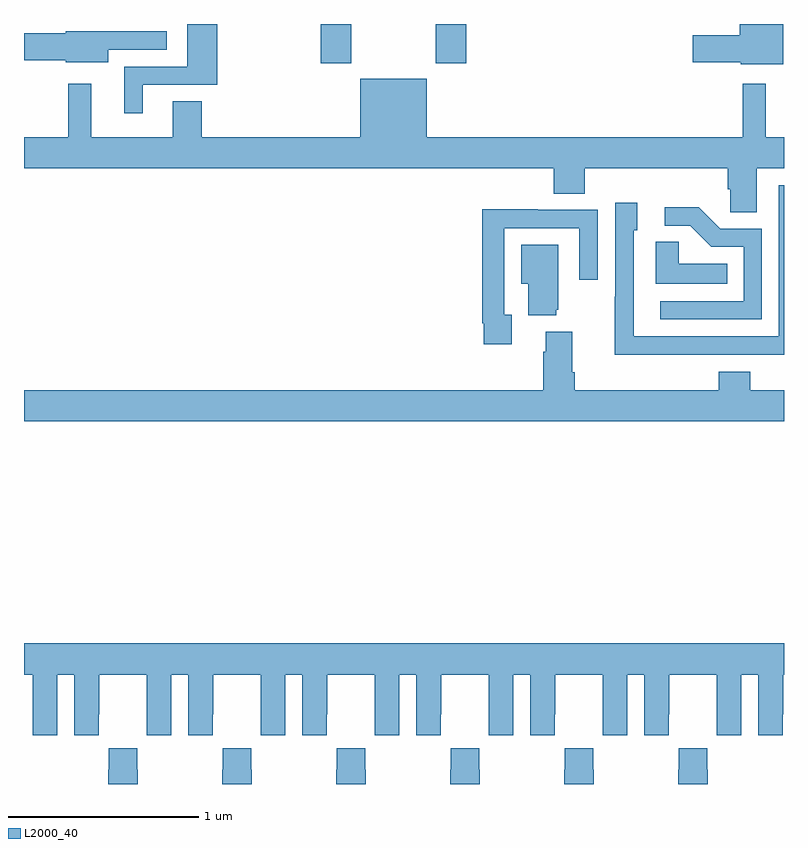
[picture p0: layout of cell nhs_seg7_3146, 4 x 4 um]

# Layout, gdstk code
import gdstk
lib = gdstk.Library(unit=1e-6, precision=1e-09)
def R(c, l, rs):  # rectangles x0, y0, x1, y1
    for r in rs: c.add(gdstk.rectangle(r[:2], r[2:], *l))
def P(c, l, *ps):  # polygons
    for p in ps: c.add(gdstk.Polygon(p, *l))
L2000_40 = (2000, 40)

nhs_seg7_3146 = lib.new_cell('nhs_seg7_3146')
R(nhs_seg7_3146, L2000_40, [(312.563,1043.793,312.723,1044), (313.168,1043.793,313.328,1044)])
P(nhs_seg7_3146, L2000_40, [(311.626,1043.679),(312.017,1043.679),(312.017,1044),(311.858,1044),(311.858,1043.775),(311.528,1043.775),(311.528,1043.529),(311.626,1043.529)],
  [(314.995,1044),(314.768,1044),(314.768,1043.942),(314.52,1043.942),(314.52,1043.8),(314.772,1043.8),(314.772,1043.789),(314.995,1043.789)],
  [(311.443,1043.865),(311.752,1043.865),(311.752,1043.961),(311.439,1043.961),(311.439,1043.962),(311.22,1043.962),(311.22,1043.951),(311,1043.951),(311,1043.809),(311.22,1043.809),(311.22,1043.798),(311.443,1043.798)],
  [(314.857,1043.24),(315,1043.24),(315,1043.404),(314.905,1043.404),(314.905,1043.686),(314.784,1043.686),(314.784,1043.404),(313.12,1043.404),(313.12,1043.713),(312.77,1043.713),(312.77,1043.404),(311.936,1043.404),(311.936,1043.594),(311.783,1043.594),(311.783,1043.404),(311.353,1043.404),(311.353,1043.686),(311.232,1043.686),(311.232,1043.404),(311,1043.404),(311,1043.24),(313.787,1043.24),(313.787,1043.107),(313.952,1043.107),(313.952,1043.24),(314.705,1043.24),(314.705,1043.131),(314.718,1043.131),(314.718,1043.008),(314.857,1043.008)],
  [(314.573,1042.26),(315,1042.26),(315,1043.151),(314.973,1043.151),(314.973,1042.356),(314.208,1042.356),(314.208,1042.914),(314.227,1042.914),(314.227,1043.059),(314.112,1043.059),(314.112,1042.565),(314.11,1042.565),(314.11,1042.259),(314.573,1042.259)],
  [(314.883,1042.923),(314.664,1042.923),(314.551,1043.036),(314.373,1043.036),(314.373,1042.938),(314.507,1042.938),(314.618,1042.827),(314.787,1042.827),(314.787,1042.542),(314.349,1042.542),(314.349,1042.446),(314.883,1042.446)],
  [(313.567,1042.47),(313.527,1042.47),(313.527,1042.926),(313.923,1042.926),(313.923,1042.653),(314.019,1042.653),(314.019,1043.022),(313.703,1043.022),(313.703,1043.024),(313.411,1043.024),(313.411,1042.426),(313.419,1042.426),(313.419,1042.314),(313.567,1042.314)],
  [(314.702,1042.738),(314.445,1042.738),(314.445,1042.853),(314.324,1042.853),(314.324,1042.634),(314.702,1042.634)],
  [(313.802,1042.497),(313.813,1042.497),(313.813,1042.837),(313.616,1042.837),(313.616,1042.634),(313.655,1042.634),(313.655,1042.466),(313.802,1042.466)],
  [(315,1042.072),(314.822,1042.072),(314.822,1042.171),(314.657,1042.171),(314.657,1042.072),(313.898,1042.072),(313.898,1042.168),(313.885,1042.168),(313.885,1042.381),(313.745,1042.381),(313.745,1042.274),(313.733,1042.274),(313.733,1042.072),(311,1042.072),(311,1041.908),(315,1041.908)],
  [(311,1040.576),(311.045,1040.576),(311.045,1040.368),(311.046,1040.368),(311.046,1040.256),(311.176,1040.256),(311.176,1040.576),(311.264,1040.576),(311.264,1040.256),(311.394,1040.256),(311.394,1040.368),(311.395,1040.368),(311.395,1040.576),(311.645,1040.576),(311.645,1040.368),(311.646,1040.368),(311.646,1040.256),(311.776,1040.256),(311.776,1040.576),(311.864,1040.576),(311.864,1040.256),(311.994,1040.256),(311.994,1040.368),(311.995,1040.368),(311.995,1040.576),(312.245,1040.576),(312.245,1040.368),(312.246,1040.368),(312.246,1040.256),(312.376,1040.256),(312.376,1040.576),(312.464,1040.576),(312.464,1040.256),(312.594,1040.256),(312.594,1040.368),(312.595,1040.368),(312.595,1040.576),(312.845,1040.576),(312.845,1040.368),(312.846,1040.368),(312.846,1040.256),(312.976,1040.256),(312.976,1040.576),(313.064,1040.576),(313.064,1040.256),(313.194,1040.256),(313.194,1040.368),(313.195,1040.368),(313.195,1040.576),(313.445,1040.576),(313.445,1040.368),(313.446,1040.368),(313.446,1040.256),(313.576,1040.256),(313.576,1040.576),(313.664,1040.576),(313.664,1040.256),(313.794,1040.256),(313.794,1040.368),(313.795,1040.368),(313.795,1040.576),(314.045,1040.576),(314.045,1040.368),(314.046,1040.368),(314.046,1040.256),(314.176,1040.256),(314.176,1040.576),(314.264,1040.576),(314.264,1040.256),(314.394,1040.256),(314.394,1040.368),(314.395,1040.368),(314.395,1040.576),(314.645,1040.576),(314.645,1040.368),(314.646,1040.368),(314.646,1040.256),(314.776,1040.256),(314.776,1040.576),(314.864,1040.576),(314.864,1040.256),(314.994,1040.256),(314.994,1040.368),(314.995,1040.368),(314.995,1040.576),(315,1040.576),(315,1040.74),(311,1040.74)],
  [(314.598,1040.075),(314.595,1040.075),(314.595,1040.188),(314.445,1040.188),(314.445,1040.075),(314.443,1040.075),(314.443,1040),(314.598,1040)],
  [(313.998,1040.075),(313.995,1040.075),(313.995,1040.188),(313.845,1040.188),(313.845,1040.075),(313.843,1040.075),(313.843,1040),(313.998,1040)],
  [(313.398,1040.075),(313.395,1040.075),(313.395,1040.188),(313.245,1040.188),(313.245,1040.075),(313.243,1040.075),(313.243,1040),(313.398,1040)],
  [(312.798,1040.075),(312.795,1040.075),(312.795,1040.188),(312.645,1040.188),(312.645,1040.075),(312.643,1040.075),(312.643,1040),(312.798,1040)],
  [(312.198,1040.075),(312.195,1040.075),(312.195,1040.188),(312.045,1040.188),(312.045,1040.075),(312.043,1040.075),(312.043,1040),(312.198,1040)],
  [(311.598,1040.075),(311.595,1040.075),(311.595,1040.188),(311.445,1040.188),(311.445,1040.075),(311.443,1040.075),(311.443,1040),(311.598,1040)])

lib.write_gds('nhs_seg7_3146.gds')
